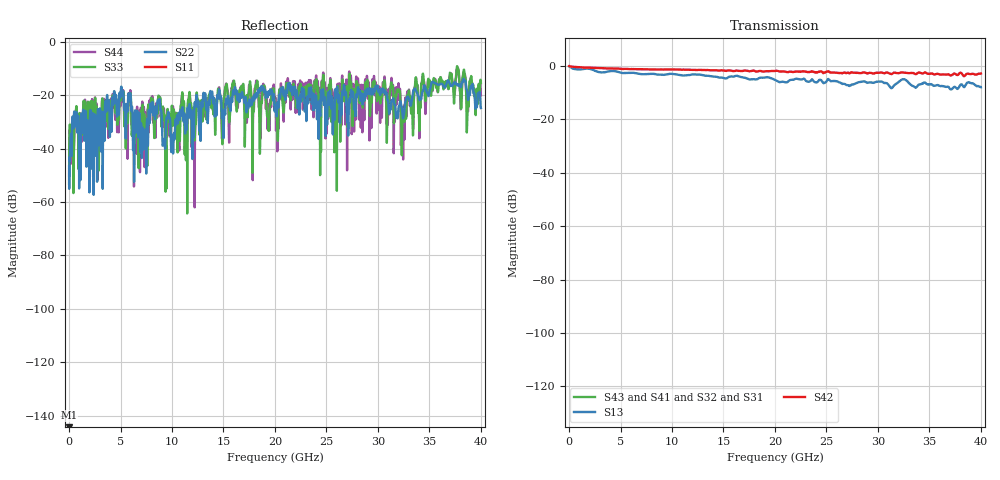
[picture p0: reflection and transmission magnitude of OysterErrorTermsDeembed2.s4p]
# MHz MA S R 50.0
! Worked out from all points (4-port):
!   8000 points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, 5 MHz to 40 GHz, reference 50 ohm
!   strongest paths, dB at 5 MHz, 10.01 GHz, 20 GHz, 30 GHz, 40 GHz:
!     S42: 0.0, -1.3, -1.8, -2.5, -2.8
!     S13: -0.1, -2.9, -5.2, -5.8, -7.9
!     S43: -, -, -, -, -
!     S41: -, -, -, -, -
!     S32: -, -, -, -, -
!     S31: -, -, -, -, -
!   lowest |S11| = - dB at 5 MHz (marker M1), VSWR 1.00, Z = 50 + j0 ohm
!   |S11| at or under -10 dB: start of sweep to end of sweep
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5  0 0.0  0 0.0  0.9866 -8.6  0 0.0
   0 0.0  0.004668 7.9  0 0.0  0.9916 -8.4
   0 0.0  0 0.0  0.002185 146.4  0 0.0
   0 0.0  0.9949 -5.5  0 0.0  0.003083 138.1
695  0 0.0  0 0.0  0.8679 -72.6  0 0.0
     0 0.0  0.04848 3.6  0 0.0  0.8681 -74.0
     0 0.0  0 0.0  0.06039 60.6  0 0.0
     0 0.0  0.9588 -31.7  0 0.0  0.05994 58.3
5080  0 0.0  0 0.0  0.745 -126.9  0 0.0
      0 0.0  0.1444 18.8  0 0.0  0.7414 -136.7
      0 0.0  0 0.0  0.1227 -31.4  0 0.0
      0 0.0  0.8817 -83.5  0 0.0  0.1389 -44.9
10070  0 0.0  0 0.0  0.7137 -94.1  0 0.0
       0 0.0  0.0127 165.7  0 0.0  0.7097 -113.7
       0 0.0  0 0.0  0.02879 -98.4  0 0.0
       0 0.0  0.8636 -65.8  0 0.0  0.06103 -163.3
16105  0 0.0  0 0.0  0.6475 8.3  0 0.0
       0 0.0  0.1404 157.7  0 0.0  0.6411 -22.8
       0 0.0  0 0.0  0.1244 -55.1  0 0.0
       0 0.0  0.8096 -96.7  0 0.0  0.1553 -118.3
32405  0 0.0  0 0.0  0.5651 51.5  0 0.0
       0 0.0  0.03957 9.2  0 0.0  0.5625 -10.9
       0 0.0  0 0.0  0.0347 -56.6  0 0.0
       0 0.0  0.758 -55.2  0 0.0  0.05334 -145.2
40000  0 0.0  0 0.0  0.4007 69.7  0 0.0
       0 0.0  0.05756 -71.4  0 0.0  0.4041 -7.8
       0 0.0  0 0.0  0.1691 119.2  0 0.0
       0 0.0  0.7263 5.7  0 0.0  0.09988 -66.1
